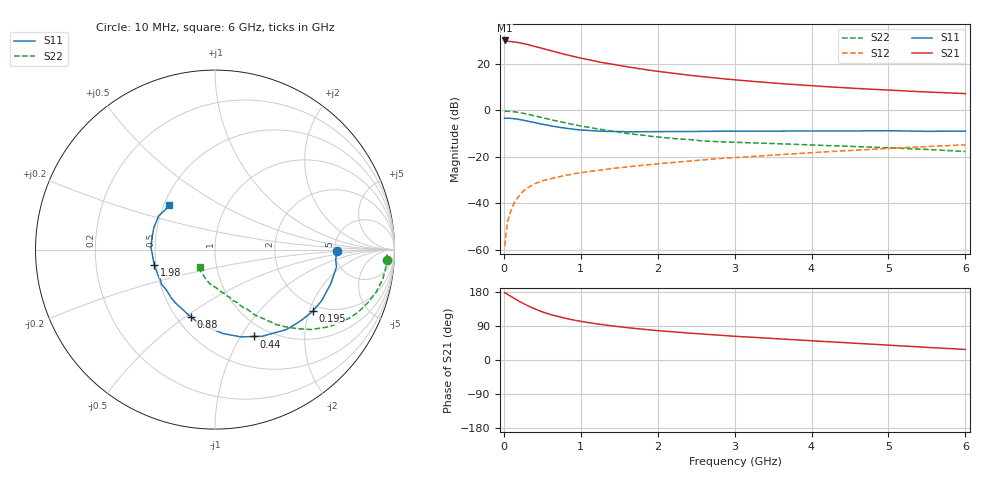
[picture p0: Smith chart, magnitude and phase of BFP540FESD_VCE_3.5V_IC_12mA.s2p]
! Infineon Technologies  Discrete & RF Semiconductors
! BFP540FESD
! VCE =  3.5 V,  IC =  12 mA
! Common Emitter S-Parameters:  Nov 2015
# GHz  S  MA  R  50
!  f  S11  S21  S12  S22
! GHz  MAG  ANG  MAG  ANG  MAG  ANG  MAG  ANG
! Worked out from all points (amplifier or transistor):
!   210 points, 10 MHz to 6 GHz, reference 50 ohm
!   highest |S21| = 30.1 dB at 10 MHz (marker M1)
!   |S21| within 3 dB of that: start of sweep to 451.6 MHz
!   unconditionally stable (mu >= 1): 2.105 GHz to end of sweep
!   at 185 MHz: K = 0.23, MSG = 33.3 dB, |S12| = -37.3 dB
!   at 1.52 GHz: K = 0.87, MSG = 21.9 dB, |S12| = -24.6 dB
!   at 6 GHz: K = 1.21, MAG = 8.3 dB, |S12| = -14.8 dB
!   S11 on the Smith chart (normalised r, x): 10 MHz: 5.24, -0.16; 195 MHz: 1.80, -2.10; 440 MHz: 0.85, -1.14; 880 MHz: 0.59, -0.53; 1.98 GHz: 0.49, -0.09; 6 GHz: 0.53, +0.30
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0.01  0.6798 -0.7  32.06 177.6  0.0012 45.7  0.9614 -3.6
0.02  0.6747 -4.8  30.94 176.8  0.0016 84.6  0.959 -1.8
0.05  0.6841 -8.1  30.92 173.2  0.0041 81.6  0.9598 -4.9
0.1  0.6726 -16.4  30.32 166.8  0.0075 78.4  0.9492 -9.9
0.15  0.6588 -25.8  29.77 160.8  0.0113 75.4  0.9292 -14.7
0.195  0.6428 -32.3  28.74 155.2  0.0143 74.0  0.9032 -18.8
0.3  0.5971 -48.3  26.42 144.0  0.021 69.4  0.8379 -27.3
0.4  0.55 -61.4  23.94 134.8  0.0263 65.4  0.7684 -34.0
0.44  0.5299 -66.0  22.96 131.9  0.028 64.1  0.7396 -36.1
0.5  0.5068 -73.6  21.63 127.0  0.0306 62.4  0.6984 -39.6
0.6  0.47 -84.5  19.41 120.4  0.0335 59.7  0.6379 -43.7
0.8  0.4155 -103.6  15.98 109.9  0.0401 57.2  0.538 -50.8
0.88  0.3988 -109.5  14.84 106.6  0.0424 56.6  0.5058 -52.6
1.02  0.3776 -119.6  13.15 101.4  0.0463 56.3  0.4575 -55.9
1.2  0.3633 -132.0  11.38 95.5  0.0506 55.3  0.4058 -59.9
1.42  0.3521 -143.3  9.775 89.7  0.0567 54.3  0.3549 -64.3
1.98  0.3488 -166.2  7.022 77.9  0.0704 53.7  0.2701 -74.8
2.02  0.3488 -167.6  6.882 77.2  0.0714 53.6  0.2662 -75.7
3.1  0.3574 170.0  4.412 61.5  0.0991 50.5  0.2035 -92.9
4.1  0.362 158.5  3.321 49.6  0.1263 46.6  0.1782 -104.5
5.1  0.3636 147.9  2.69 38.0  0.1551 40.3  0.1546 -115.8
6  0.3588 135.8  2.302 27.8  0.1815 34.1  0.1307 -130.9
